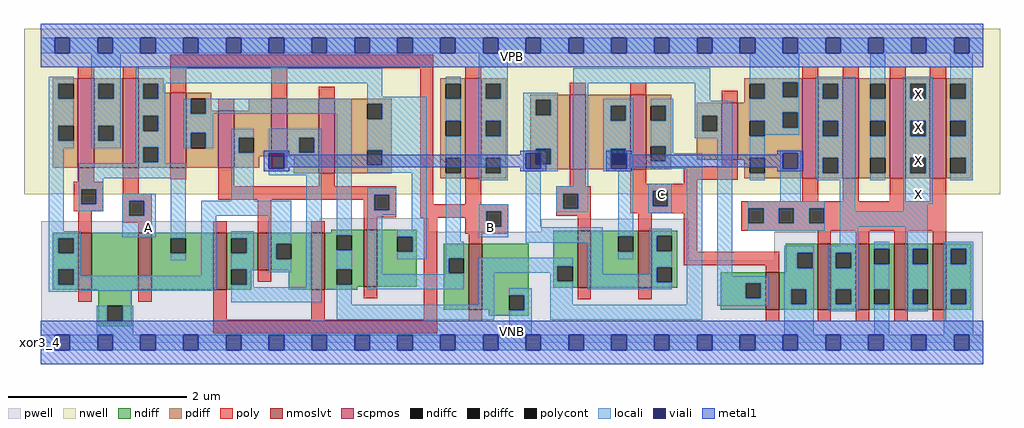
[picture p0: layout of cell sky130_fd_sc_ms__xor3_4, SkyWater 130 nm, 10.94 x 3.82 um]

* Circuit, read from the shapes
.subckt sky130_fd_sc_ms__xor3_4 A B C VGND VNB VPB VPWR X
XM1 VGND n1 n2 VNB sky130_fd_pr__nfet_01v8_lvt w=0.64 l=0.15
XM2 n1 A VGND VNB sky130_fd_pr__nfet_01v8_lvt w=0.64 l=0.15
XM3 n3 B n1 VNB sky130_fd_pr__nfet_01v8_lvt w=0.64 l=0.15
XM4 n2 n4 n3 VNB sky130_fd_pr__nfet_01v8_lvt w=0.42 l=0.15
XM5 n5 B n2 VNB sky130_fd_pr__nfet_01v8_lvt w=0.64 l=0.15
XM6 n1 n4 n5 VNB sky130_fd_pr__nfet_01v8_lvt w=0.64 l=0.15
XM7 VGND B n4 VNB sky130_fd_pr__nfet_01v8_lvt w=0.74 l=0.15
XM8 n6 n7 n5 VNB sky130_fd_pr__nfet_01v8_lvt w=0.64 l=0.15
XM9 n3 C n6 VNB sky130_fd_pr__nfet_01v8_lvt w=0.64 l=0.15
XM10 VGND C n7 VNB sky130_fd_pr__nfet_01v8_lvt w=0.42 l=0.15
XM11 X n6 VGND VNB sky130_fd_pr__nfet_01v8_lvt w=0.74 l=0.15 m=4
XM12 VPWR n1 n2 VPB sky130_fd_pr__pfet_01v8 w=1 l=0.18
XM13 n1 A VPWR VPB sky130_fd_pr__pfet_01v8 w=1 l=0.18
XM14 n5 B n1 VPB sky130_fd_pr__pfet_01v8 w=0.84 l=0.18
XM15 n2 n4 n5 VPB sky130_fd_pr__pfet_01v8 w=0.64 l=0.18
XM16 n3 B n2 VPB sky130_fd_pr__pfet_01v8 w=0.64 l=0.18
XM17 n1 n4 n3 VPB sky130_fd_pr__pfet_01v8 w=0.84 l=0.18
XM18 VPWR B n4 VPB sky130_fd_pr__pfet_01v8 w=1.12 l=0.18
XM19 n6 n7 n3 VPB sky130_fd_pr__pfet_01v8 w=0.84 l=0.18
XM20 n5 C n6 VPB sky130_fd_pr__pfet_01v8 w=0.84 l=0.18
XM21 VPWR C n7 VPB sky130_fd_pr__pfet_01v8 w=0.64 l=0.18
XM22 X n6 VPWR VPB sky130_fd_pr__pfet_01v8 w=1.12 l=0.18 m=4
.ends

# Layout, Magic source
magic
tech sky130A
magscale 1 2
<< nwell >>
rect -38 332 2150 704
<< pwell >>
rect 625 272 869 279
rect 1 248 869 272
rect 1122 248 1452 277
rect 1 184 1452 248
rect 1644 184 2111 248
rect 1 49 2111 184
rect 0 0 2112 49
<< scpmos >>
rect 83 392 119 592
rect 183 392 219 592
rect 290 392 326 560
rect 397 392 433 520
rect 516 418 552 546
rect 623 379 659 547
rect 951 368 987 592
rect 1185 388 1221 556
rect 1321 388 1357 556
rect 1526 410 1562 538
rect 1707 368 1743 592
rect 1797 368 1833 592
rect 1903 368 1939 592
rect 1993 368 2029 592
<< nmoslvt >>
rect 84 118 114 246
rect 218 118 248 246
rect 386 118 416 246
rect 486 162 516 246
rect 606 118 636 246
rect 724 125 754 253
rect 959 74 989 222
rect 1203 123 1233 251
rect 1339 123 1369 251
rect 1625 74 1655 158
rect 1741 74 1771 222
rect 1827 74 1857 222
rect 1913 74 1943 222
rect 1999 74 2029 222
<< ndiff >>
rect 651 246 724 253
rect 27 234 84 246
rect 27 200 39 234
rect 73 200 84 234
rect 27 164 84 200
rect 27 130 39 164
rect 73 130 84 164
rect 27 118 84 130
rect 114 118 218 246
rect 248 234 386 246
rect 248 200 291 234
rect 325 200 386 234
rect 248 118 386 200
rect 416 234 486 246
rect 416 200 427 234
rect 461 200 486 234
rect 416 164 486 200
rect 416 130 427 164
rect 461 162 486 164
rect 516 221 606 246
rect 516 187 527 221
rect 561 187 606 221
rect 516 162 606 187
rect 461 130 471 162
rect 416 118 471 130
rect 556 118 606 162
rect 636 241 724 246
rect 636 207 663 241
rect 697 207 724 241
rect 636 164 724 207
rect 636 130 663 164
rect 697 130 724 164
rect 636 125 724 130
rect 754 237 843 253
rect 754 203 799 237
rect 833 203 843 237
rect 754 125 843 203
rect 636 118 709 125
rect 129 82 203 118
rect 129 48 149 82
rect 183 48 203 82
rect 129 36 203 48
rect 903 189 959 222
rect 903 155 914 189
rect 948 155 959 189
rect 903 74 959 155
rect 989 106 1094 222
rect 1148 171 1203 251
rect 1148 137 1158 171
rect 1192 137 1203 171
rect 1148 123 1203 137
rect 1233 238 1339 251
rect 1233 204 1294 238
rect 1328 204 1339 238
rect 1233 123 1339 204
rect 1369 239 1426 251
rect 1369 205 1380 239
rect 1414 205 1426 239
rect 1369 169 1426 205
rect 1369 135 1380 169
rect 1414 135 1426 169
rect 1670 201 1741 222
rect 1670 167 1696 201
rect 1730 167 1741 201
rect 1670 158 1741 167
rect 1369 123 1426 135
rect 1524 133 1625 158
rect 989 74 1050 106
rect 1004 72 1050 74
rect 1084 72 1094 106
rect 1524 99 1580 133
rect 1614 99 1625 133
rect 1524 74 1625 99
rect 1655 120 1741 158
rect 1655 86 1682 120
rect 1716 86 1741 120
rect 1655 74 1741 86
rect 1771 201 1827 222
rect 1771 167 1782 201
rect 1816 167 1827 201
rect 1771 120 1827 167
rect 1771 86 1782 120
rect 1816 86 1827 120
rect 1771 74 1827 86
rect 1857 210 1913 222
rect 1857 176 1868 210
rect 1902 176 1913 210
rect 1857 120 1913 176
rect 1857 86 1868 120
rect 1902 86 1913 120
rect 1857 74 1913 86
rect 1943 210 1999 222
rect 1943 176 1954 210
rect 1988 176 1999 210
rect 1943 120 1999 176
rect 1943 86 1954 120
rect 1988 86 1999 120
rect 1943 74 1999 86
rect 2029 210 2085 222
rect 2029 176 2040 210
rect 2074 176 2085 210
rect 2029 120 2085 176
rect 2029 86 2040 120
rect 2074 86 2085 120
rect 2029 74 2085 86
rect 1004 60 1094 72
<< pdiff >>
rect 27 580 83 592
rect 27 546 39 580
rect 73 546 83 580
rect 27 486 83 546
rect 27 452 39 486
rect 73 452 83 486
rect 27 392 83 452
rect 119 580 183 592
rect 119 546 129 580
rect 163 546 183 580
rect 119 486 183 546
rect 119 452 129 486
rect 163 452 183 486
rect 119 392 183 452
rect 219 580 275 592
rect 219 546 229 580
rect 263 560 275 580
rect 263 546 290 560
rect 219 508 290 546
rect 219 474 229 508
rect 263 474 290 508
rect 219 438 290 474
rect 219 404 229 438
rect 263 404 290 438
rect 219 392 290 404
rect 326 547 382 560
rect 326 513 336 547
rect 370 520 382 547
rect 573 546 623 547
rect 466 520 516 546
rect 370 513 397 520
rect 326 470 397 513
rect 326 436 336 470
rect 370 436 397 470
rect 326 392 397 436
rect 433 459 516 520
rect 433 425 443 459
rect 477 425 516 459
rect 433 418 516 425
rect 552 459 623 546
rect 552 425 579 459
rect 613 425 623 459
rect 552 418 623 425
rect 433 392 489 418
rect 567 379 623 418
rect 659 535 786 547
rect 659 501 731 535
rect 765 501 786 535
rect 659 431 786 501
rect 659 397 731 431
rect 765 397 786 431
rect 659 379 786 397
rect 895 580 951 592
rect 895 546 907 580
rect 941 546 951 580
rect 895 497 951 546
rect 895 463 907 497
rect 941 463 951 497
rect 895 414 951 463
rect 895 380 907 414
rect 941 380 951 414
rect 895 368 951 380
rect 987 580 1043 592
rect 1577 584 1707 592
rect 987 546 997 580
rect 1031 546 1043 580
rect 1577 580 1663 584
rect 987 497 1043 546
rect 987 463 997 497
rect 1031 463 1043 497
rect 987 414 1043 463
rect 987 380 997 414
rect 1031 380 1043 414
rect 1097 544 1185 556
rect 1097 510 1109 544
rect 1143 510 1185 544
rect 1097 434 1185 510
rect 1097 400 1109 434
rect 1143 400 1185 434
rect 1097 388 1185 400
rect 1221 531 1321 556
rect 1221 497 1277 531
rect 1311 497 1321 531
rect 1221 434 1321 497
rect 1221 400 1277 434
rect 1311 400 1321 434
rect 1221 388 1321 400
rect 1357 531 1413 556
rect 1577 546 1589 580
rect 1623 550 1663 580
rect 1697 550 1707 584
rect 1623 546 1707 550
rect 1577 538 1707 546
rect 1357 497 1367 531
rect 1401 497 1413 531
rect 1357 440 1413 497
rect 1357 406 1367 440
rect 1401 406 1413 440
rect 1470 508 1526 538
rect 1470 474 1482 508
rect 1516 474 1526 508
rect 1470 410 1526 474
rect 1562 516 1707 538
rect 1562 497 1663 516
rect 1562 463 1589 497
rect 1623 482 1663 497
rect 1697 482 1707 516
rect 1623 463 1707 482
rect 1562 414 1707 463
rect 1562 410 1589 414
rect 1357 388 1413 406
rect 987 368 1043 380
rect 1577 380 1589 410
rect 1623 380 1707 414
rect 1577 368 1707 380
rect 1743 580 1797 592
rect 1743 546 1753 580
rect 1787 546 1797 580
rect 1743 497 1797 546
rect 1743 463 1753 497
rect 1787 463 1797 497
rect 1743 414 1797 463
rect 1743 380 1753 414
rect 1787 380 1797 414
rect 1743 368 1797 380
rect 1833 580 1903 592
rect 1833 546 1859 580
rect 1893 546 1903 580
rect 1833 497 1903 546
rect 1833 463 1859 497
rect 1893 463 1903 497
rect 1833 414 1903 463
rect 1833 380 1859 414
rect 1893 380 1903 414
rect 1833 368 1903 380
rect 1939 580 1993 592
rect 1939 546 1949 580
rect 1983 546 1993 580
rect 1939 497 1993 546
rect 1939 463 1949 497
rect 1983 463 1993 497
rect 1939 414 1993 463
rect 1939 380 1949 414
rect 1983 380 1993 414
rect 1939 368 1993 380
rect 2029 580 2085 592
rect 2029 546 2039 580
rect 2073 546 2085 580
rect 2029 497 2085 546
rect 2029 463 2039 497
rect 2073 463 2085 497
rect 2029 414 2085 463
rect 2029 380 2039 414
rect 2073 380 2085 414
rect 2029 368 2085 380
<< ndiffc >>
rect 39 200 73 234
rect 39 130 73 164
rect 291 200 325 234
rect 427 200 461 234
rect 427 130 461 164
rect 527 187 561 221
rect 663 207 697 241
rect 663 130 697 164
rect 799 203 833 237
rect 149 48 183 82
rect 914 155 948 189
rect 1158 137 1192 171
rect 1294 204 1328 238
rect 1380 205 1414 239
rect 1380 135 1414 169
rect 1696 167 1730 201
rect 1050 72 1084 106
rect 1580 99 1614 133
rect 1682 86 1716 120
rect 1782 167 1816 201
rect 1782 86 1816 120
rect 1868 176 1902 210
rect 1868 86 1902 120
rect 1954 176 1988 210
rect 1954 86 1988 120
rect 2040 176 2074 210
rect 2040 86 2074 120
<< pdiffc >>
rect 39 546 73 580
rect 39 452 73 486
rect 129 546 163 580
rect 129 452 163 486
rect 229 546 263 580
rect 229 474 263 508
rect 229 404 263 438
rect 336 513 370 547
rect 336 436 370 470
rect 443 425 477 459
rect 579 425 613 459
rect 731 501 765 535
rect 731 397 765 431
rect 907 546 941 580
rect 907 463 941 497
rect 907 380 941 414
rect 997 546 1031 580
rect 997 463 1031 497
rect 997 380 1031 414
rect 1109 510 1143 544
rect 1109 400 1143 434
rect 1277 497 1311 531
rect 1277 400 1311 434
rect 1589 546 1623 580
rect 1663 550 1697 584
rect 1367 497 1401 531
rect 1367 406 1401 440
rect 1482 474 1516 508
rect 1589 463 1623 497
rect 1663 482 1697 516
rect 1589 380 1623 414
rect 1753 546 1787 580
rect 1753 463 1787 497
rect 1753 380 1787 414
rect 1859 546 1893 580
rect 1859 463 1893 497
rect 1859 380 1893 414
rect 1949 546 1983 580
rect 1949 463 1983 497
rect 1949 380 1983 414
rect 2039 546 2073 580
rect 2039 463 2073 497
rect 2039 380 2073 414
<< poly >>
rect 83 592 119 618
rect 183 592 219 618
rect 290 615 880 645
rect 290 560 326 615
rect 516 546 552 615
rect 623 547 659 573
rect 397 520 433 546
rect 516 392 552 418
rect 83 360 119 392
rect 74 344 140 360
rect 74 310 90 344
rect 124 310 140 344
rect 183 334 219 392
rect 290 366 326 392
rect 397 350 433 392
rect 623 350 659 379
rect 74 294 140 310
rect 182 318 248 334
rect 397 331 797 350
rect 397 320 747 331
rect 84 246 114 294
rect 182 284 198 318
rect 232 284 248 318
rect 182 268 248 284
rect 218 246 248 268
rect 386 246 416 272
rect 486 246 516 320
rect 724 297 747 320
rect 781 297 797 331
rect 724 281 797 297
rect 850 310 880 615
rect 951 592 987 618
rect 1707 592 1743 618
rect 1797 592 1833 618
rect 1903 592 1939 618
rect 1993 592 2029 618
rect 1185 556 1221 582
rect 1321 556 1357 582
rect 1526 538 1562 564
rect 1526 395 1562 410
rect 951 310 987 368
rect 1185 350 1221 388
rect 1321 356 1357 388
rect 1441 365 1562 395
rect 1441 356 1471 365
rect 1155 334 1233 350
rect 850 294 1048 310
rect 606 246 636 272
rect 724 253 754 281
rect 850 280 998 294
rect 486 136 516 162
rect 84 92 114 118
rect 218 92 248 118
rect 386 51 416 118
rect 606 51 636 118
rect 724 99 754 125
rect 858 51 888 280
rect 951 260 998 280
rect 1032 260 1048 294
rect 1155 300 1171 334
rect 1205 300 1233 334
rect 1155 284 1233 300
rect 1321 340 1471 356
rect 1321 306 1371 340
rect 1405 306 1471 340
rect 1707 317 1743 368
rect 1797 317 1833 368
rect 1903 317 1939 368
rect 1993 317 2029 368
rect 1321 290 1471 306
rect 951 244 1048 260
rect 1203 251 1233 284
rect 1339 251 1369 290
rect 959 222 989 244
rect 1441 203 1471 290
rect 1570 301 2029 317
rect 1570 267 1586 301
rect 1620 267 1654 301
rect 1688 267 1722 301
rect 1756 267 2029 301
rect 1570 251 2029 267
rect 1741 222 1771 251
rect 1827 222 1857 251
rect 1913 222 1943 251
rect 1999 222 2029 251
rect 1441 173 1655 203
rect 1625 158 1655 173
rect 386 21 888 51
rect 959 48 989 74
rect 1203 97 1233 123
rect 1339 97 1369 123
rect 1625 48 1655 74
rect 1741 48 1771 74
rect 1827 48 1857 74
rect 1913 48 1943 74
rect 1999 48 2029 74
<< polycont >>
rect 90 310 124 344
rect 198 284 232 318
rect 747 297 781 331
rect 998 260 1032 294
rect 1171 300 1205 334
rect 1371 306 1405 340
rect 1586 267 1620 301
rect 1654 267 1688 301
rect 1722 267 1756 301
<< locali >>
rect 0 649 31 683
rect 65 649 127 683
rect 161 649 223 683
rect 257 649 319 683
rect 353 649 415 683
rect 449 649 511 683
rect 545 649 607 683
rect 641 649 703 683
rect 737 649 799 683
rect 833 649 895 683
rect 929 649 991 683
rect 1025 649 1087 683
rect 1121 649 1183 683
rect 1217 649 1279 683
rect 1313 649 1375 683
rect 1409 649 1471 683
rect 1505 649 1567 683
rect 1601 649 1663 683
rect 1697 649 1759 683
rect 1793 649 1855 683
rect 1889 649 1951 683
rect 1985 649 2047 683
rect 2081 649 2112 683
rect 17 580 73 596
rect 17 546 39 580
rect 17 486 73 546
rect 17 452 39 486
rect 17 436 73 452
rect 113 580 179 649
rect 113 546 129 580
rect 163 546 179 580
rect 113 486 179 546
rect 113 452 129 486
rect 163 452 179 486
rect 113 436 179 452
rect 213 581 765 615
rect 213 580 279 581
rect 213 546 229 580
rect 263 546 279 580
rect 731 551 765 581
rect 907 580 941 596
rect 213 508 279 546
rect 213 474 229 508
rect 263 474 279 508
rect 213 438 279 474
rect 17 250 51 436
rect 213 404 229 438
rect 263 404 279 438
rect 320 513 336 547
rect 370 513 697 547
rect 320 470 386 513
rect 320 436 336 470
rect 370 436 386 470
rect 427 459 477 479
rect 213 402 279 404
rect 427 425 443 459
rect 85 368 325 402
rect 85 344 140 368
rect 85 310 90 344
rect 124 310 140 344
rect 85 294 140 310
rect 182 318 257 334
rect 182 284 198 318
rect 232 284 257 318
rect 17 234 89 250
rect 182 236 257 284
rect 17 200 39 234
rect 73 200 89 234
rect 17 164 89 200
rect 291 234 325 368
rect 427 318 477 425
rect 511 459 629 479
rect 511 425 579 459
rect 613 425 629 459
rect 511 424 629 425
rect 545 390 629 424
rect 511 375 629 390
rect 291 184 325 200
rect 359 284 561 318
rect 17 130 39 164
rect 73 150 89 164
rect 359 150 393 284
rect 73 130 393 150
rect 17 116 393 130
rect 427 234 477 250
rect 461 200 477 234
rect 427 164 477 200
rect 461 130 477 164
rect 511 221 561 284
rect 511 187 527 221
rect 511 158 561 187
rect 427 124 477 130
rect 595 124 629 375
rect 17 114 89 116
rect 427 90 629 124
rect 663 241 697 513
rect 731 535 865 551
rect 765 501 865 535
rect 731 431 865 501
rect 765 397 865 431
rect 731 381 865 397
rect 663 164 697 207
rect 663 85 697 130
rect 731 331 797 347
rect 731 297 747 331
rect 781 297 797 331
rect 731 287 797 297
rect 731 153 765 287
rect 831 253 865 381
rect 799 237 865 253
rect 833 203 865 237
rect 799 187 865 203
rect 907 497 941 546
rect 907 414 941 463
rect 907 226 941 380
rect 981 580 1047 649
rect 981 546 997 580
rect 1031 546 1047 580
rect 1193 581 1500 615
rect 981 497 1047 546
rect 981 463 997 497
rect 1031 463 1047 497
rect 981 414 1047 463
rect 981 380 997 414
rect 1031 380 1047 414
rect 1081 544 1159 560
rect 1081 510 1109 544
rect 1143 510 1159 544
rect 1081 434 1159 510
rect 1081 424 1109 434
rect 1081 390 1087 424
rect 1143 400 1159 434
rect 1121 390 1159 400
rect 1081 384 1159 390
rect 981 364 1047 380
rect 982 294 1048 310
rect 982 260 998 294
rect 1032 260 1048 294
rect 982 236 1048 260
rect 1087 258 1121 384
rect 1193 350 1227 581
rect 1261 531 1328 547
rect 1261 497 1277 531
rect 1311 497 1328 531
rect 1261 434 1328 497
rect 1261 400 1277 434
rect 1311 424 1328 434
rect 1261 390 1279 400
rect 1313 390 1328 424
rect 1367 531 1417 547
rect 1401 497 1417 531
rect 1367 440 1417 497
rect 1466 542 1500 581
rect 1589 584 1700 649
rect 1589 580 1663 584
rect 1623 550 1663 580
rect 1697 550 1700 584
rect 1623 546 1700 550
rect 1466 508 1550 542
rect 1466 474 1482 508
rect 1516 474 1550 508
rect 1466 458 1550 474
rect 1401 424 1417 440
rect 1401 406 1482 424
rect 1367 390 1482 406
rect 1261 384 1328 390
rect 1155 334 1227 350
rect 1155 300 1171 334
rect 1205 300 1227 334
rect 1155 292 1227 300
rect 907 189 948 226
rect 1087 224 1260 258
rect 907 155 914 189
rect 907 153 948 155
rect 731 119 948 153
rect 982 171 1192 190
rect 982 156 1158 171
rect 982 85 1016 156
rect 1142 137 1158 156
rect 125 48 149 82
rect 183 48 207 82
rect 663 51 1016 85
rect 1050 106 1100 122
rect 1084 72 1100 106
rect 125 17 207 48
rect 1050 17 1100 72
rect 1142 85 1192 137
rect 1226 153 1260 224
rect 1294 238 1328 384
rect 1362 340 1414 356
rect 1362 306 1371 340
rect 1405 306 1414 340
rect 1362 290 1414 306
rect 1294 187 1328 204
rect 1364 239 1414 255
rect 1364 205 1380 239
rect 1364 169 1414 205
rect 1364 153 1380 169
rect 1226 135 1380 153
rect 1226 119 1414 135
rect 1448 85 1482 390
rect 1142 51 1482 85
rect 1516 149 1550 458
rect 1589 516 1700 546
rect 1589 497 1663 516
rect 1623 482 1663 497
rect 1697 482 1700 516
rect 1623 466 1700 482
rect 1737 580 1825 596
rect 1737 546 1753 580
rect 1787 546 1825 580
rect 1737 497 1825 546
rect 1589 414 1623 463
rect 1737 463 1753 497
rect 1787 463 1825 497
rect 1589 364 1623 380
rect 1657 424 1703 430
rect 1657 390 1663 424
rect 1697 390 1703 424
rect 1657 317 1703 390
rect 1737 414 1825 463
rect 1737 380 1753 414
rect 1787 380 1825 414
rect 1737 364 1825 380
rect 1859 580 1893 649
rect 1859 497 1893 546
rect 1859 414 1893 463
rect 1859 364 1893 380
rect 1933 580 1999 596
rect 1933 546 1949 580
rect 1983 546 1999 580
rect 1933 497 1999 546
rect 1933 463 1949 497
rect 1983 463 1999 497
rect 1933 414 1999 463
rect 1933 380 1949 414
rect 1983 380 1999 414
rect 1584 301 1757 317
rect 1584 267 1586 301
rect 1620 267 1654 301
rect 1688 267 1722 301
rect 1756 267 1757 301
rect 1584 251 1757 267
rect 1791 294 1825 364
rect 1933 310 1999 380
rect 2039 580 2089 649
rect 2073 546 2089 580
rect 2039 497 2089 546
rect 2073 463 2089 497
rect 2039 414 2089 463
rect 2073 380 2089 414
rect 2039 364 2089 380
rect 1933 294 1988 310
rect 1791 260 1988 294
rect 1791 217 1832 260
rect 1666 201 1732 217
rect 1666 167 1696 201
rect 1730 167 1732 201
rect 1516 133 1630 149
rect 1516 99 1580 133
rect 1614 99 1630 133
rect 1516 83 1630 99
rect 1666 120 1732 167
rect 1666 86 1682 120
rect 1716 86 1732 120
rect 1666 17 1732 86
rect 1766 201 1832 217
rect 1766 167 1782 201
rect 1816 167 1832 201
rect 1766 120 1832 167
rect 1766 86 1782 120
rect 1816 86 1832 120
rect 1766 70 1832 86
rect 1868 210 1902 226
rect 1868 120 1902 176
rect 1868 17 1902 86
rect 1938 210 1988 260
rect 1938 176 1954 210
rect 1938 120 1988 176
rect 1938 86 1954 120
rect 1938 70 1988 86
rect 2024 210 2090 226
rect 2024 176 2040 210
rect 2074 176 2090 210
rect 2024 120 2090 176
rect 2024 86 2040 120
rect 2074 86 2090 120
rect 2024 17 2090 86
rect 0 -17 31 17
rect 65 -17 127 17
rect 161 -17 223 17
rect 257 -17 319 17
rect 353 -17 415 17
rect 449 -17 511 17
rect 545 -17 607 17
rect 641 -17 703 17
rect 737 -17 799 17
rect 833 -17 895 17
rect 929 -17 991 17
rect 1025 -17 1087 17
rect 1121 -17 1183 17
rect 1217 -17 1279 17
rect 1313 -17 1375 17
rect 1409 -17 1471 17
rect 1505 -17 1567 17
rect 1601 -17 1663 17
rect 1697 -17 1759 17
rect 1793 -17 1855 17
rect 1889 -17 1951 17
rect 1985 -17 2047 17
rect 2081 -17 2112 17
<< viali >>
rect 31 649 65 683
rect 127 649 161 683
rect 223 649 257 683
rect 319 649 353 683
rect 415 649 449 683
rect 511 649 545 683
rect 607 649 641 683
rect 703 649 737 683
rect 799 649 833 683
rect 895 649 929 683
rect 991 649 1025 683
rect 1087 649 1121 683
rect 1183 649 1217 683
rect 1279 649 1313 683
rect 1375 649 1409 683
rect 1471 649 1505 683
rect 1567 649 1601 683
rect 1663 649 1697 683
rect 1759 649 1793 683
rect 1855 649 1889 683
rect 1951 649 1985 683
rect 2047 649 2081 683
rect 511 390 545 424
rect 1087 400 1109 424
rect 1109 400 1121 424
rect 1087 390 1121 400
rect 1279 400 1311 424
rect 1311 400 1313 424
rect 1279 390 1313 400
rect 1663 390 1697 424
rect 31 -17 65 17
rect 127 -17 161 17
rect 223 -17 257 17
rect 319 -17 353 17
rect 415 -17 449 17
rect 511 -17 545 17
rect 607 -17 641 17
rect 703 -17 737 17
rect 799 -17 833 17
rect 895 -17 929 17
rect 991 -17 1025 17
rect 1087 -17 1121 17
rect 1183 -17 1217 17
rect 1279 -17 1313 17
rect 1375 -17 1409 17
rect 1471 -17 1505 17
rect 1567 -17 1601 17
rect 1663 -17 1697 17
rect 1759 -17 1793 17
rect 1855 -17 1889 17
rect 1951 -17 1985 17
rect 2047 -17 2081 17
<< metal1 >>
rect 0 683 2112 715
rect 0 649 31 683
rect 65 649 127 683
rect 161 649 223 683
rect 257 649 319 683
rect 353 649 415 683
rect 449 649 511 683
rect 545 649 607 683
rect 641 649 703 683
rect 737 649 799 683
rect 833 649 895 683
rect 929 649 991 683
rect 1025 649 1087 683
rect 1121 649 1183 683
rect 1217 649 1279 683
rect 1313 649 1375 683
rect 1409 649 1471 683
rect 1505 649 1567 683
rect 1601 649 1663 683
rect 1697 649 1759 683
rect 1793 649 1855 683
rect 1889 649 1951 683
rect 1985 649 2047 683
rect 2081 649 2112 683
rect 0 617 2112 649
rect 499 424 557 430
rect 499 390 511 424
rect 545 421 557 424
rect 1075 424 1133 430
rect 1075 421 1087 424
rect 545 393 1087 421
rect 545 390 557 393
rect 499 384 557 390
rect 1075 390 1087 393
rect 1121 390 1133 424
rect 1075 384 1133 390
rect 1267 424 1325 430
rect 1267 390 1279 424
rect 1313 421 1325 424
rect 1651 424 1709 430
rect 1651 421 1663 424
rect 1313 393 1663 421
rect 1313 390 1325 393
rect 1267 384 1325 390
rect 1651 390 1663 393
rect 1697 390 1709 424
rect 1651 384 1709 390
rect 0 17 2112 49
rect 0 -17 31 17
rect 65 -17 127 17
rect 161 -17 223 17
rect 257 -17 319 17
rect 353 -17 415 17
rect 449 -17 511 17
rect 545 -17 607 17
rect 641 -17 703 17
rect 737 -17 799 17
rect 833 -17 895 17
rect 929 -17 991 17
rect 1025 -17 1087 17
rect 1121 -17 1183 17
rect 1217 -17 1279 17
rect 1313 -17 1375 17
rect 1409 -17 1471 17
rect 1505 -17 1567 17
rect 1601 -17 1663 17
rect 1697 -17 1759 17
rect 1793 -17 1855 17
rect 1889 -17 1951 17
rect 1985 -17 2047 17
rect 2081 -17 2112 17
rect 0 -49 2112 -17
<< labels >>
flabel pwell s 0 0 2112 49 0 FreeSans 200 0 0 0 VNB
port 5 nsew ground bidirectional
flabel nwell s 0 617 2112 666 0 FreeSans 200 0 0 0 VPB
port 6 nsew power bidirectional
rlabel comment s 0 0 0 0 4 xor3_4
flabel metal1 s 0 617 2112 666 0 FreeSans 340 0 0 0 VPWR
port 7 nsew power bidirectional
flabel metal1 s 0 0 2112 49 0 FreeSans 340 0 0 0 VGND
port 4 nsew ground bidirectional
flabel locali s 1951 316 1985 350 0 FreeSans 340 0 0 0 X
port 8 nsew signal output
flabel locali s 1951 390 1985 424 0 FreeSans 340 0 0 0 X
port 8 nsew signal output
flabel locali s 1951 464 1985 498 0 FreeSans 340 0 0 0 X
port 8 nsew signal output
flabel locali s 1951 538 1985 572 0 FreeSans 340 0 0 0 X
port 8 nsew signal output
flabel locali s 991 242 1025 276 0 FreeSans 340 0 0 0 B
port 2 nsew signal input
flabel locali s 1375 316 1409 350 0 FreeSans 340 0 0 0 C
port 3 nsew signal input
flabel locali s 223 242 257 276 0 FreeSans 340 0 0 0 A
port 1 nsew signal input
<< properties >>
string LEFsite unit
string LEFclass CORE
string FIXED_BBOX 0 0 2112 666
string GDS_FILE $PDKPATH/libs.ref/sky130_fd_sc_ms/gds/sky130_fd_sc_ms.gds
string LEFsymmetry X Y
string GDS_END 2715114
string GDS_START 2699884
<< end >>
